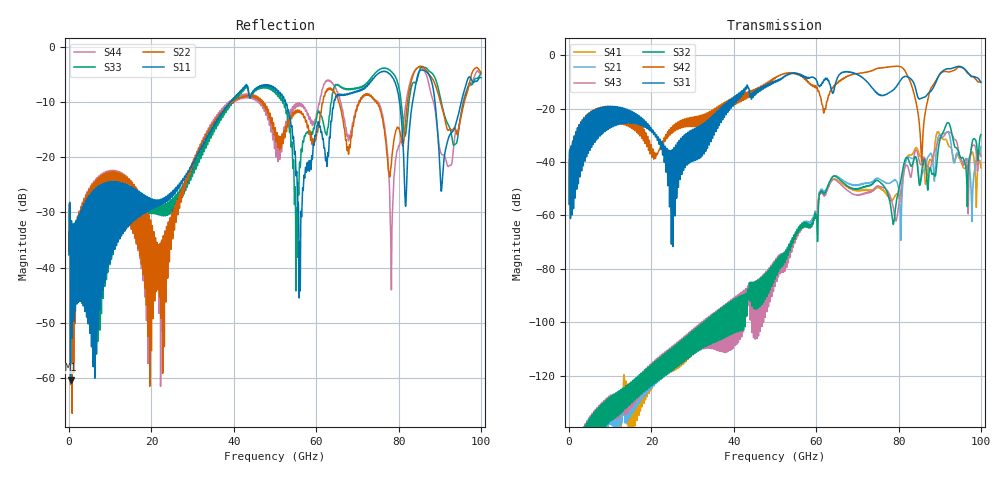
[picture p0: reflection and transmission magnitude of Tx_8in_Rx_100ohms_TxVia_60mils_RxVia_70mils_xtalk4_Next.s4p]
! Info: Touchstone file created by Circ.  Input file=Tx_8in_Rx_100ohms_TxVia_60mils_RxVia_70mils.circ
# Hz S RI R 50
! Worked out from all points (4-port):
!   10000 points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, 10 MHz to 100 GHz, reference 50 ohm
!   strongest paths, dB at 10 MHz, 25.01 GHz, 50.01 GHz, 75.01 GHz, 100 GHz:
!     S31: -55.8, -35.9, -10.2, -14.4, -10.2
!     S42: -55.3, -28.4, -8.7, -4.8, -10.0
!     S32: -194.5, -110.8, -83.3, -47.0, -29.7
!     S43: -159.2, -111.0, -86.0, -48.9, -37.8
!     S21: -195.6, -110.7, -82.6, -46.0, -34.3
!     S41: -161.0, -110.9, -84.7, -49.1, -42.2
!   lowest |S11| = -60.4 dB at 380 MHz (marker M1), VSWR 1.00, Z = 49.9 + j0.077 ohm
!   |S11| at or under -10 dB: start of sweep to 39.08 GHz; 52.57 GHz to 64.3 GHz (11.73 GHz wide, 20.1 % of centre); 88.87 GHz to 95.21 GHz (6.337 GHz wide, 6.88 % of centre)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
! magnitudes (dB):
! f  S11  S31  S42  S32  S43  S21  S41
! 10 MHz  -37.6  -55.8  -55.3  -194.5  -159.2  -195.6  -161.0
! 380 MHz  -60.4  -44.2  -44.1  -163.7  -163.3  -164.8  -163.7
! 49.25 GHz  -7.1  -10.6  -9.5  -86.3  -88.1  -85.2  -87.4
! 56.02 GHz  -35.5  -7.3  -7.4  -65.4  -66.2  -65.1  -66.0
! 78.28 GHz  -5.2  -13.5  -4.2  -58.3  -54.1  -47.6  -54.4
! 85.59 GHz  -4.1  -16.0  -39.9  -44.1  -40.9  -45.4  -37.9
! 100 GHz  -5.5  -10.2  -10.0  -29.7  -37.8  -34.3  -42.2
